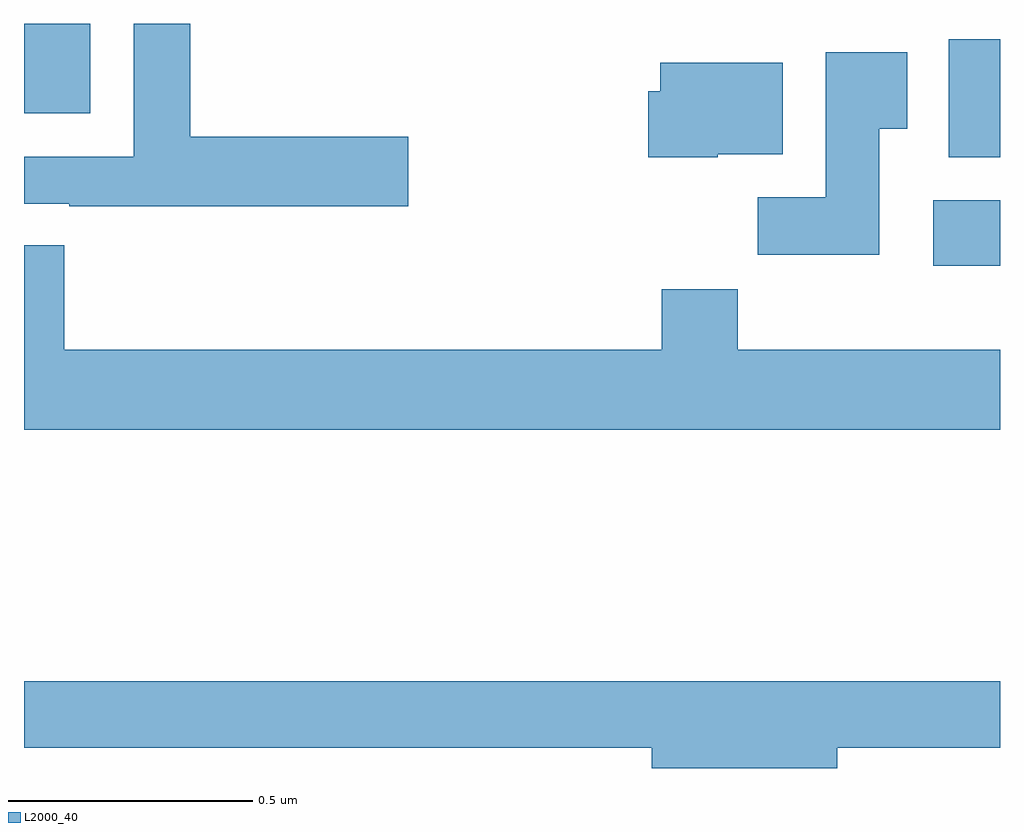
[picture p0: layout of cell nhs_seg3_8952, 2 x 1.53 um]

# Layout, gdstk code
import gdstk
lib = gdstk.Library(unit=1e-6, precision=1e-09)
def R(c, l, rs):  # rectangles x0, y0, x1, y1
    for r in rs: c.add(gdstk.rectangle(r[:2], r[2:], *l))
def P(c, l, *ps):  # polygons
    for p in ps: c.add(gdstk.Polygon(p, *l))
L2000_40 = (2000, 40)

nhs_seg3_8952 = lib.new_cell('nhs_seg3_8952')
R(nhs_seg3_8952, L2000_40, [(223.863,715.904,224,716.038), (223.895,716.126,224,716.368), (222,716.216,222.136,716.4)])
P(nhs_seg3_8952, L2000_40, [(222.787,716.168),(222.341,716.168),(222.341,716.4),(222.225,716.4),(222.225,716.127),(222,716.127),(222,716.031),(222.093,716.031),(222.093,716.026),(222.787,716.026)],
  [(223.753,716.185),(223.81,716.185),(223.81,716.341),(223.643,716.341),(223.643,716.044),(223.504,716.044),(223.504,715.926),(223.753,715.926)],
  [(223.422,716.132),(223.555,716.132),(223.555,716.32),(223.304,716.32),(223.304,716.262),(223.279,716.262),(223.279,716.126),(223.422,716.126)],
  [(224,715.732),(223.463,715.732),(223.463,715.856),(223.307,715.856),(223.307,715.732),(222.082,715.732),(222.082,715.946),(222,715.946),(222,715.568),(224,715.568)],
  [(223.666,714.916),(224,714.916),(224,715.052),(222,715.052),(222,714.916),(223.286,714.916),(223.286,714.874),(223.666,714.874)])

lib.write_gds('nhs_seg3_8952.gds')
